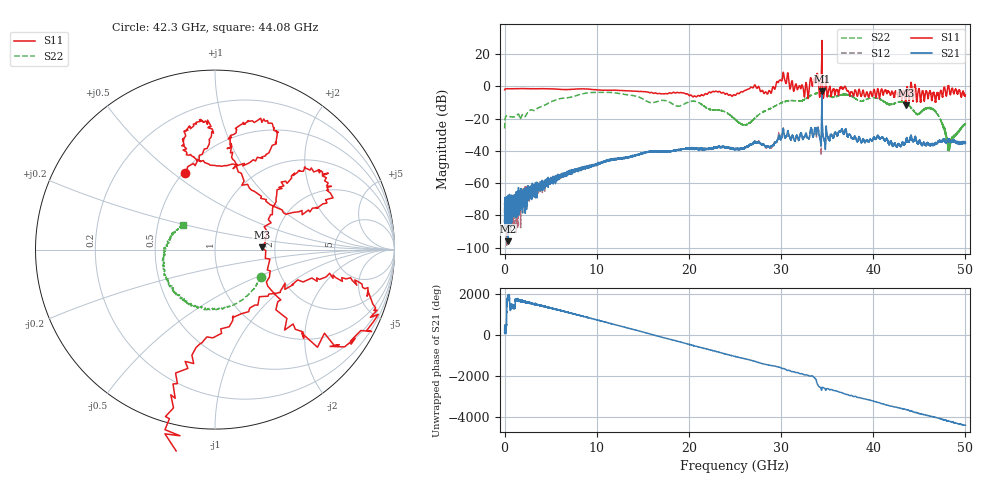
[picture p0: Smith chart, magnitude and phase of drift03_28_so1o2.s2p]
!Created with skrf (http://scikit-rf.org).
# Hz S RI R 50.0
!freq ReS11 ImS11 ReS21 ImS21 ReS12 ImS12 ReS22 ImS22
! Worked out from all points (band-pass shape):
!   10000 points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, 5.3 MHz to 50 GHz, reference 50 ohm
!   highest |S21| = -2.92 dB at 34.43 GHz (marker M1); lowest = -96.1 dB at 370.3 MHz (marker M2)
!   |S21| within 3 dB of the highest: 34.42737 GHz to 34.43478 GHz (7.405 MHz wide, 0.0215 % of centre)
!   lowest |S11| = -11.7 dB at 43.52 GHz (marker M3), VSWR 1.70, Z = 85.1 + j2.23 ohm
!   |S11| at or under -10 dB: 43.49338 GHz to 43.54111 GHz (47.72 MHz wide, 0.11 % of centre)
!   |S22| runs from -39.9 to -3.6 dB; largest |S21 - S12| = 0.23
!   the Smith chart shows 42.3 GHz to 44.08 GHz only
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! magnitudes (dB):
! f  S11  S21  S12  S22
! 5.3 MHz  -2.1  -83.2  -78.3  -26.1
! 370.3 MHz  -1.4  -96.1  -76.5  -18.4
! 2.98 GHz  -1.4  -65.8  -61.5  -14.5
! 8.34 GHz  -1.5  -50.7  -51.0  -4.7
! 16.67 GHz  -4.4  -40.2  -40.2  -9.1
! 20.72 GHz  -6.2  -38.9  -38.4  -9.3
! 25.01 GHz  -5.5  -38.7  -38.5  -20.5
! 26.22 GHz  -2.2  -37.7  -37.5  -23.8
! 28.72 GHz  -2.5  -37.5  -37.7  -14.1
! 30.14 GHz  4.4  -29.5  -29.9  -9.9
! 32.74 GHz  2.0  -29.6  -29.2  -7.4
! 33.34 GHz  2.6  -27.5  -27.7  -5.3
! 33.82 GHz  3.9  -29.2  -29.5  -4.4
! 34.43 GHz  28.5  -2.9  -5.1  -4.0
! 36.49 GHz  -0.2  -27.6  -27.8  -5.3
! 38.88 GHz  -2.3  -32.6  -32.6  -9.0
! 41.67 GHz  -3.1  -35.6  -35.4  -11.1
! 43.52 GHz  -11.7  -34.2  -34.3  -10.3
! 44.74 GHz  -8.6  -34.9  -34.5  -17.2
! 46.65 GHz  -4.9  -35.5  -35.4  -14.5
! 48.21 GHz  -0.3  -32.7  -32.9  -37.7
! 50 GHz  -5.3  -35.2  -34.7  -23.5
